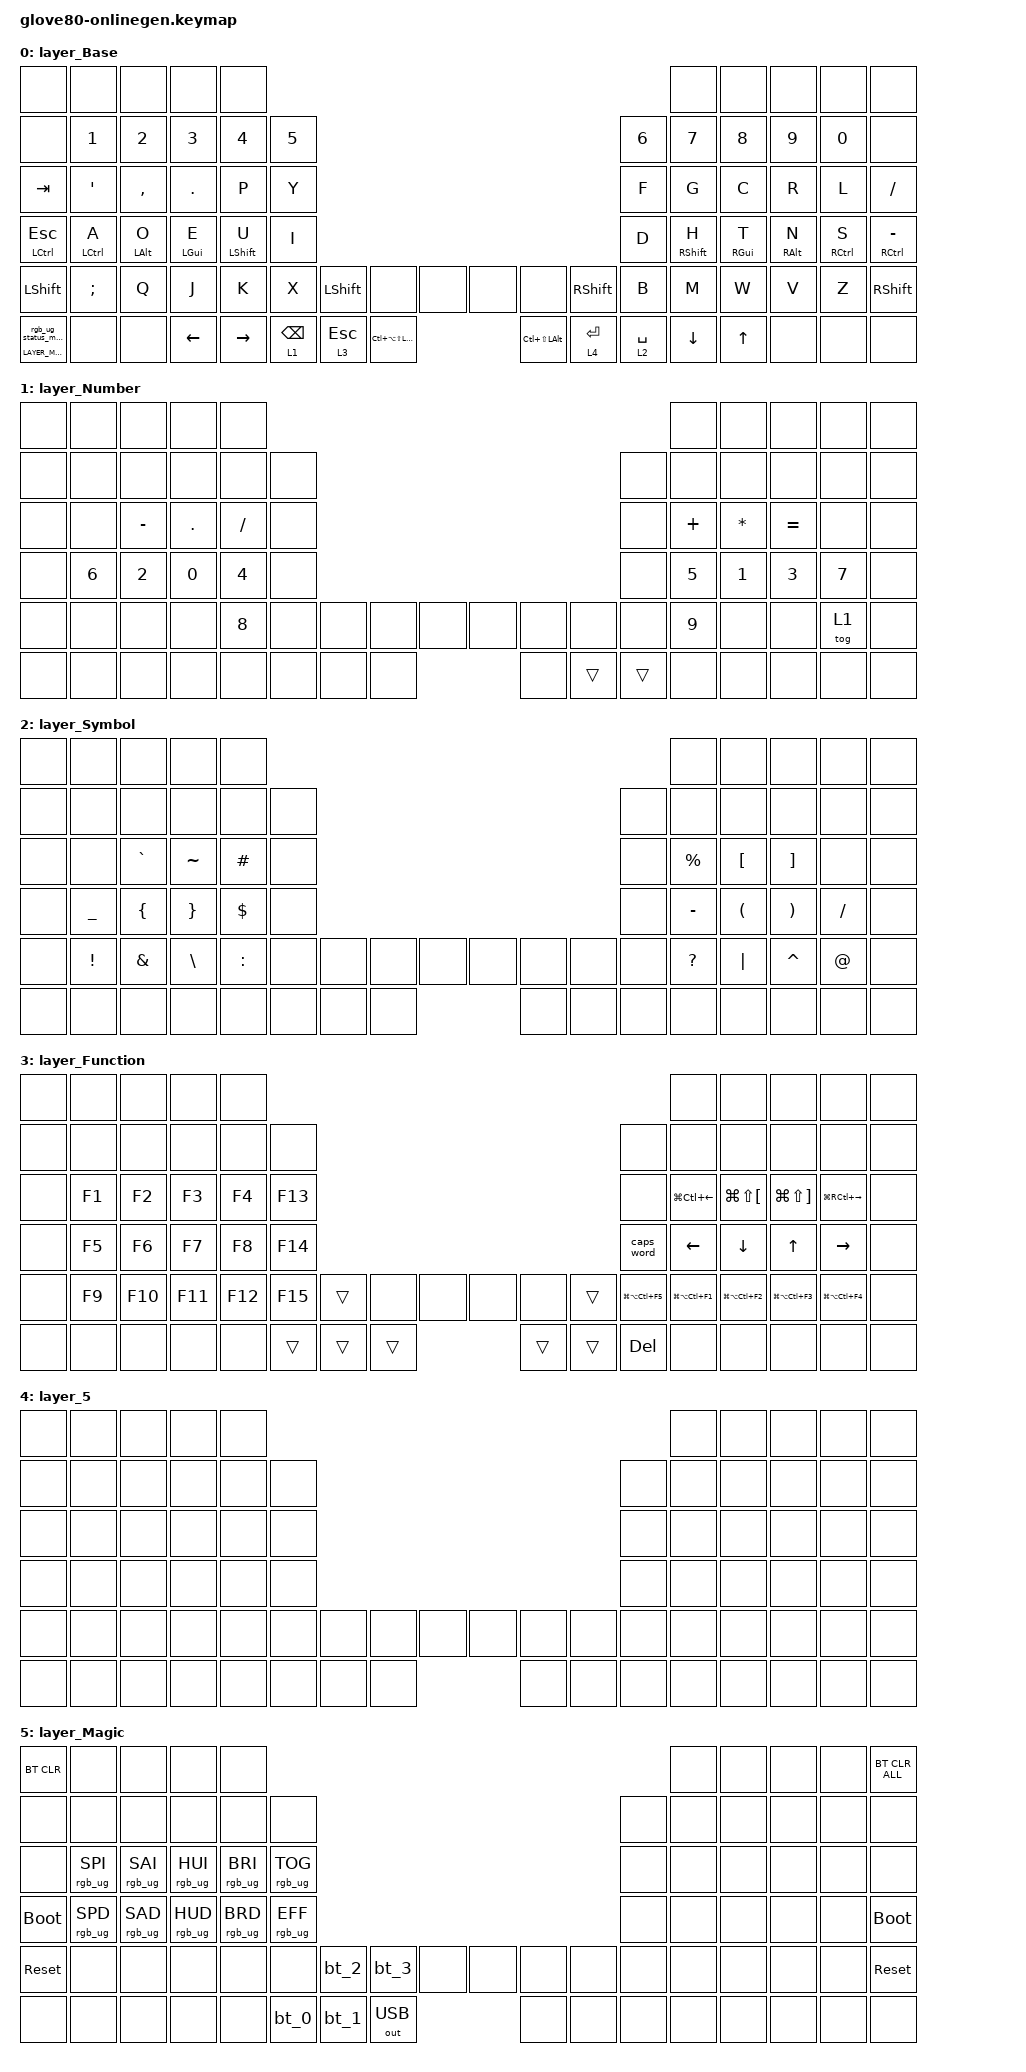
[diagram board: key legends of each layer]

/*
 * Copyright (c) 2020 The ZMK Contributors
 * Copyright (c) 2023 Innaworks Development Limited, trading as MoErgo
 *
 * SPDX-License-Identifier: MIT
 */


/* THIS FILE WAS GENERATED BY GLOVE80 LAYOUT EDITOR
 *
 * This file was generated automatically. You may or may not want to
 * edit it directly.
 */

#include <behaviors.dtsi>
/* Include all behavior includes needed */
#include <dt-bindings/zmk/outputs.h>
#include <dt-bindings/zmk/keys.h>
#include <dt-bindings/zmk/bt.h>
#include <dt-bindings/zmk/rgb.h>

/* Automatically generated layer name #define */
#define LAYER_Base 0
#define LAYER_Number 1
#define LAYER_Symbol 2
#define LAYER_Function 3
#define LAYER_5 4
#define LAYER_Magic 5

/* To deal with the situation where there is no Lower layer, to keep &lower happy */
#ifndef LAYER_Lower
#define LAYER_Lower 0
#endif

/* Custom Device-tree */
#define COMBO_TIMEOUT 30

#define LH_R1 0 1 2 3 4 5 
#define LH_R2 10 11 12 13 14 15 
#define LH_R3 22 23 24 25 26 27 
#define LH_R4 34 35 36 37 38 39 
#define LH_R5 46 47 48 49 50 51
#define LH_T1 52 53 54
#define LH_R6 64 65 66 67 68
#define LH_T2 69 70 71

#define RH_R1 6 7 8 9 10
#define RH_R2 16 17 18 19 20 21
#define RH_R3 28 29 30 31 32 33
#define RH_R4 40 41 42 43 44 45
#define RH_T1 55 56 57
#define RH_R5 58 59 60 61 62 63
#define RH_T2 72 73 74
#define RH_R6 75 76 77 78 79

#define LEFT_KEYS LH_R1 LH_R2 LH_R3 LH_R4 LH_R5 LH_R6 LH_T1 LH_T2
#define RIGHT_KEYS RH_R1 RH_R2 RH_R3 RH_R4 RH_R5 RH_R6 RH_T1 RH_T2

// Require this much time of idleness before resolving as hold
#define HRM_PRIOR_TIMEOUT_MS 100

// If double tap within this timeout, then hold the tap behaviour
#define HRM_QUICK_TAP_TIMEOUT 100

// The base time for resolving holds v taps
#define HRM_TAP_TERM 250

#define HRM_HOLDTAP_BEHAVIOR "balanced"

&mt {
    tapping-term-ms = <200>;
    quick-tap-ms = <200>;
    flavor = "balanced";
};

/ {
    behaviors {

        hrml: homerow_mod_left {
            compatible = "zmk,behavior-hold-tap";
            #binding-cells = <2>;
            flavor = HRM_HOLDTAP_BEHAVIOR;
            tapping-term-ms = <HRM_TAP_TERM>;
            quick-tap-ms = <HRM_QUICK_TAP_TIMEOUT>;
            bindings = <&kp>, <&kp>;
            require-prior-idle-ms = <HRM_PRIOR_TIMEOUT_MS>;
            hold-trigger-key-positions = <RIGHT_KEYS>;
            hold-trigger-on-release;
        };

        hrmr: homerow_mod_right {
            compatible = "zmk,behavior-hold-tap";
            #binding-cells = <2>;
            flavor = HRM_HOLDTAP_BEHAVIOR;
            tapping-term-ms = <HRM_TAP_TERM>;
            quick-tap-ms = <HRM_QUICK_TAP_TIMEOUT>;
            bindings = <&kp>, <&kp>;
            require-prior-idle-ms = <HRM_PRIOR_TIMEOUT_MS>;
            hold-trigger-key-positions = <LEFT_KEYS>;
            hold-trigger-on-release;
        };

    };
};


/* Glove80 system behavior & macros */
/ {
    behaviors {
        // For the "layer" key, it'd nice to be able to use it as either a shift or a toggle.
        // Configure it as a tap dance, so the first tap (or hold) is a &mo and the second tap is a &to
        lower: lower {
            compatible = "zmk,behavior-tap-dance";
            label = "LAYER_TAP_DANCE";
            #binding-cells = <0>;
            tapping-term-ms = <200>;
            bindings = <&mo LAYER_Lower>, <&to LAYER_Lower>;
        };
    };
};

/ {
    macros {
        rgb_ug_status_macro: rgb_ug_status_macro {
            label = "RGB_UG_STATUS";
            compatible = "zmk,behavior-macro";
            #binding-cells = <0>;
            bindings
                = <&rgb_ug RGB_STATUS>;
        };
    };
};


/ {
#ifdef BT_DISC_CMD
    behaviors {
        bt_0: bt_0 {
            compatible = "zmk,behavior-tap-dance";
            label = "BT_0";
            #binding-cells = <0>;
            tapping-term-ms = <200>;
            bindings = <&bt_select_0>, <&bt BT_DISC 0>;
        };
        bt_1: bt_1 {
            compatible = "zmk,behavior-tap-dance";
            label = "BT_1";
            #binding-cells = <0>;
            tapping-term-ms = <200>;
            bindings = <&bt_select_1>, <&bt BT_DISC 1>;
        };
        bt_2: bt_2 {
            compatible = "zmk,behavior-tap-dance";
            label = "BT_2";
            #binding-cells = <0>;
            tapping-term-ms = <200>;
            bindings = <&bt_select_2>, <&bt BT_DISC 2>;
        };
        bt_3: bt_3 {
            compatible = "zmk,behavior-tap-dance";
            label = "BT_3";
            #binding-cells = <0>;
            tapping-term-ms = <200>;
            bindings = <&bt_select_3>, <&bt BT_DISC 3>;
        };
    };
    macros {
        bt_select_0: bt_select_0 {
            label = "BT_SELECT_0";
            compatible = "zmk,behavior-macro";
            #binding-cells = <0>;
            bindings
                = <&out OUT_BLE>,
                  <&bt BT_SEL 0>;
        };
        bt_select_1: bt_select_1 {
            label = "BT_SELECT_1";
            compatible = "zmk,behavior-macro";
            #binding-cells = <0>;
            bindings
                = <&out OUT_BLE>,
                  <&bt BT_SEL 1>;
        };
        bt_select_2: bt_select_2 {
            label = "BT_SELECT_2";
            compatible = "zmk,behavior-macro";
            #binding-cells = <0>;
            bindings
                = <&out OUT_BLE>,
                  <&bt BT_SEL 2>;
        };
        bt_select_3: bt_select_3 {
            label = "BT_SELECT_3";
            compatible = "zmk,behavior-macro";
            #binding-cells = <0>;
            bindings
                = <&out OUT_BLE>,
                  <&bt BT_SEL 3>;
        };
    };
#else
    macros {
        bt_0: bt_0 {
            label = "BT_0";
            compatible = "zmk,behavior-macro";
            #binding-cells = <0>;
            bindings
                = <&out OUT_BLE>,
                  <&bt BT_SEL 0>;
        };
        bt_1: bt_1 {
            label = "BT_1";
            compatible = "zmk,behavior-macro";
            #binding-cells = <0>;
            bindings
                = <&out OUT_BLE>,
                  <&bt BT_SEL 1>;
        };
        bt_2: bt_2 {
            label = "BT_2";
            compatible = "zmk,behavior-macro";
            #binding-cells = <0>;
            bindings
                = <&out OUT_BLE>,
                  <&bt BT_SEL 2>;
        };
        bt_3: bt_3 {
            label = "BT_3";
            compatible = "zmk,behavior-macro";
            #binding-cells = <0>;
            bindings
                = <&out OUT_BLE>,
                  <&bt BT_SEL 3>;
        };
    };
#endif
};

/ {
    behaviors {
        magic: magic {
            compatible = "zmk,behavior-hold-tap";
            label = "MAGIC_HOLD_TAP";
            #binding-cells = <2>;
            flavor = "tap-preferred";
            tapping-term-ms = <200>;
            bindings = <&mo>, <&rgb_ug_status_macro>;
        };
    };
};

/* #define for key positions */
#define POS_LH_T1 52
#define POS_LH_T2 53
#define POS_LH_T3 54
#define POS_LH_T4 69
#define POS_LH_T5 70
#define POS_LH_T6 71
#define POS_LH_C1R2 15
#define POS_LH_C1R3 27
#define POS_LH_C1R4 39
#define POS_LH_C1R5 51
#define POS_LH_C2R1 4
#define POS_LH_C2R2 14
#define POS_LH_C2R3 26
#define POS_LH_C2R4 38
#define POS_LH_C2R5 50
#define POS_LH_C2R6 68
#define POS_LH_C3R1 3
#define POS_LH_C3R2 13
#define POS_LH_C3R3 25
#define POS_LH_C3R4 37
#define POS_LH_C3R5 49
#define POS_LH_C3R6 67
#define POS_LH_C4R1 2
#define POS_LH_C4R2 12
#define POS_LH_C4R3 24
#define POS_LH_C4R4 36
#define POS_LH_C4R5 48
#define POS_LH_C4R6 66
#define POS_LH_C5R1 1
#define POS_LH_C5R2 11
#define POS_LH_C5R3 23
#define POS_LH_C5R4 35
#define POS_LH_C5R5 47
#define POS_LH_C5R6 65
#define POS_LH_C6R1 0
#define POS_LH_C6R2 10
#define POS_LH_C6R3 22
#define POS_LH_C6R4 34
#define POS_LH_C6R5 46
#define POS_LH_C6R6 64
#define POS_RH_T1 57
#define POS_RH_T2 56
#define POS_RH_T3 55
#define POS_RH_T4 74
#define POS_RH_T5 73
#define POS_RH_T6 72
#define POS_RH_C1R2 16
#define POS_RH_C1R3 28
#define POS_RH_C1R4 40
#define POS_RH_C1R5 58
#define POS_RH_C2R1 5
#define POS_RH_C2R2 17
#define POS_RH_C2R3 29
#define POS_RH_C2R4 41
#define POS_RH_C2R5 59
#define POS_RH_C2R6 75
#define POS_RH_C3R1 6
#define POS_RH_C3R2 18
#define POS_RH_C3R3 30
#define POS_RH_C3R4 42
#define POS_RH_C3R5 60
#define POS_RH_C3R6 76
#define POS_RH_C4R1 7
#define POS_RH_C4R2 19
#define POS_RH_C4R3 31
#define POS_RH_C4R4 43
#define POS_RH_C4R5 61
#define POS_RH_C4R6 77
#define POS_RH_C5R1 8
#define POS_RH_C5R2 20
#define POS_RH_C5R3 32
#define POS_RH_C5R4 44
#define POS_RH_C5R5 62
#define POS_RH_C5R6 78
#define POS_RH_C6R1 9
#define POS_RH_C6R2 21
#define POS_RH_C6R3 33
#define POS_RH_C6R4 45
#define POS_RH_C6R5 63
#define POS_RH_C6R6 79

/* Custom Defined Behaviors */
/ {

};

/* Automatically generated macro definitions */
/ {
    macros {
    
    };
};

/* Automatically generated keymap */
/ {
    keymap {
        compatible = "zmk,keymap";


        layer_Base {
            bindings = <
                &none          &none         &none         &none           &none                                                                                                                  &none         &none         &none          &none            &none
                &none         &kp N1        &kp N2        &kp N3          &kp N4  &kp N5                                                                                         &kp N6          &kp N7        &kp N8        &kp N9         &kp N0            &none
              &kp TAB        &kp SQT     &kp COMMA       &kp DOT           &kp P   &kp Y                                                                                          &kp F           &kp G         &kp C         &kp R          &kp L        &kp SLASH
        &mt LCTRL ESC  &hrml LCTRL A  &hrml LALT O  &hrml LGUI E  &hrml LSHIFT U   &kp I                                                                                          &kp D  &hrmr RSHIFT H  &hrmr RGUI T  &hrmr RALT N  &hrmr RCTRL S  &mt RCTRL MINUS
            &kp LSHFT       &kp SEMI         &kp Q         &kp J           &kp K   &kp X   &kp LSHFT      &none                 &none             &none      &none    &kp RSHFT   &kp B           &kp M         &kp W         &kp V          &kp Z        &kp RSHFT
 &magic LAYER_Magic 0          &none         &none      &kp LEFT       &kp RIGHT          &lt 1 BSPC  &lt 3 ESC  &kp LC(LA(LS(LGUI)))  &kp LC(LS(LALT))  &lt 4 RET  &lt 2 SPACE                &kp DOWN        &kp UP         &none          &none            &none
            >;
        };

        layer_Number {
            bindings = <
  &none   &none      &none    &none     &none                                                                     &none     &none      &none   &none   &none
  &none   &none      &none    &none     &none   &none                                                   &none     &none     &none      &none   &none   &none
  &none   &none  &kp MINUS  &kp DOT  &kp FSLH   &none                                                   &none  &kp PLUS  &kp STAR  &kp EQUAL   &none   &none
  &none  &kp N6     &kp N2   &kp N0    &kp N4   &none                                                   &none    &kp N5    &kp N1     &kp N3  &kp N7   &none
  &none   &none      &none    &none    &kp N8   &none   &none   &none   &none   &none   &none   &none   &none    &kp N9     &none      &none  &tog 1   &none
  &none   &none      &none    &none     &none           &none   &none   &none   &none  &trans  &trans             &none     &none      &none   &none   &none
            >;
        };

        layer_Symbol {
            bindings = <
  &none      &none      &none      &none      &none                                                                      &none     &none      &none     &none   &none
  &none      &none      &none      &none      &none   &none                                                   &none      &none     &none      &none     &none   &none
  &none      &none  &kp GRAVE  &kp TILDE   &kp HASH   &none                                                   &none  &kp PRCNT  &kp LBKT   &kp RBKT     &none   &none
  &none  &kp UNDER   &kp LBRC   &kp RBRC   &kp DLLR   &none                                                   &none  &kp MINUS  &kp LPAR   &kp RPAR  &kp FSLH   &none
  &none   &kp EXCL   &kp AMPS   &kp BSLH  &kp COLON   &none   &none   &none   &none   &none   &none   &none   &none  &kp QMARK  &kp PIPE  &kp CARET    &kp AT   &none
  &none      &none      &none      &none      &none           &none   &none   &none   &none   &none   &none              &none     &none      &none     &none   &none
            >;
        };

        layer_Function {
            bindings = <
  &none   &none    &none    &none    &none                                                                                             &none               &none               &none               &none   &none
  &none   &none    &none    &none    &none    &none                                                                &none               &none               &none               &none               &none   &none
  &none  &kp F1   &kp F2   &kp F3   &kp F4  &kp F13                                                                &none    &kp LG(LC(LEFT))    &kp LG(LS(LBKT))    &kp LG(LS(RBKT))   &kp LG(RC(RIGHT))   &none
  &none  &kp F5   &kp F6   &kp F7   &kp F8  &kp F14                                                           &caps_word            &kp LEFT            &kp DOWN              &kp UP           &kp RIGHT   &none
  &none  &kp F9  &kp F10  &kp F11  &kp F12  &kp F15  &trans   &none   &none   &none   &none   &trans  &kp LG(LA(LC(F5)))  &kp LG(LA(LC(F1)))  &kp LG(LA(LC(F2)))  &kp LG(LA(LC(F3)))  &kp LG(LA(LC(F4)))   &none
  &none   &none    &none    &none    &none           &trans  &trans  &trans  &trans  &trans  &kp DEL                                   &none               &none               &none               &none   &none
            >;
        };

        layer_5 {
            bindings = <
  &none   &none   &none   &none   &none                                                                   &none   &none   &none   &none   &none
  &none   &none   &none   &none   &none   &none                                                   &none   &none   &none   &none   &none   &none
  &none   &none   &none   &none   &none   &none                                                   &none   &none   &none   &none   &none   &none
  &none   &none   &none   &none   &none   &none                                                   &none   &none   &none   &none   &none   &none
  &none   &none   &none   &none   &none   &none   &none   &none   &none   &none   &none   &none   &none   &none   &none   &none   &none   &none
  &none   &none   &none   &none   &none           &none   &none   &none   &none   &none   &none           &none   &none   &none   &none   &none
            >;
        };

        layer_Magic {
            bindings = <
  &bt BT_CLR            &none            &none            &none            &none                                                                                  &none   &none   &none   &none  &bt BT_CLR_ALL
       &none            &none            &none            &none            &none            &none                                                         &none   &none   &none   &none   &none           &none
       &none  &rgb_ug RGB_SPI  &rgb_ug RGB_SAI  &rgb_ug RGB_HUI  &rgb_ug RGB_BRI  &rgb_ug RGB_TOG                                                         &none   &none   &none   &none   &none           &none
 &bootloader  &rgb_ug RGB_SPD  &rgb_ug RGB_SAD  &rgb_ug RGB_HUD  &rgb_ug RGB_BRD  &rgb_ug RGB_EFF                                                         &none   &none   &none   &none   &none     &bootloader
  &sys_reset            &none            &none            &none            &none            &none   &bt_2   &bt_3         &none   &none   &none   &none   &none   &none   &none   &none   &none      &sys_reset
       &none            &none            &none            &none            &none                    &bt_0   &bt_1  &out OUT_USB   &none   &none   &none           &none   &none   &none   &none           &none
            >;
        };

    };
};
